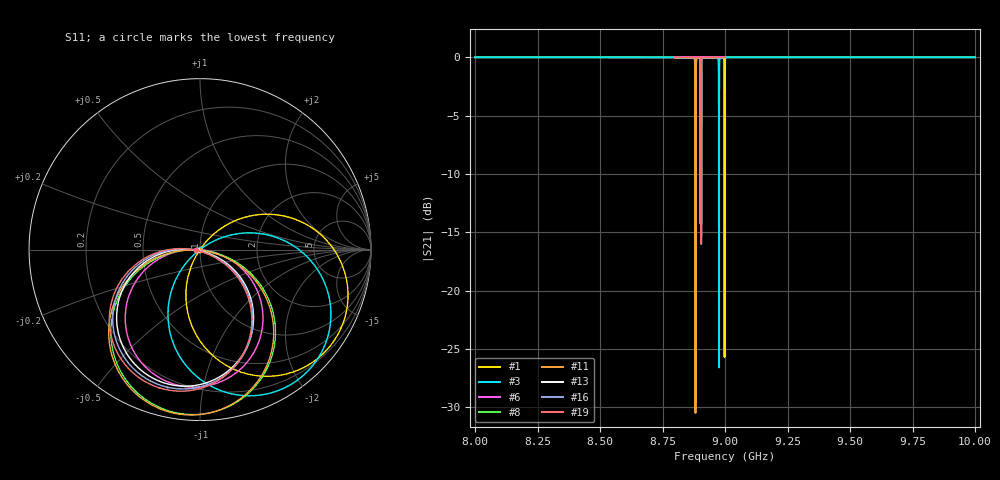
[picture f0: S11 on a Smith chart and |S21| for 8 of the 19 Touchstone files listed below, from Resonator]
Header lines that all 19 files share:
! Sonnet Data File
! From: emgraph Version : 16.52
# GHZ S MA R 51.80000
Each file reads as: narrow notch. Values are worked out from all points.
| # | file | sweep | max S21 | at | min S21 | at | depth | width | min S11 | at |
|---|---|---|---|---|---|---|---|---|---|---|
| 1 | Even_bx0800y3000_gp6.s2p | 8 GHz to 10 GHz | 0.00 dB | 9.15 GHz | -25.7 dB | 8.9983 GHz | 25.7 dB | 183 kHz | -76.4 dB | 9.1616 GHz |
| 2 | Even_bx1000y3500_gp6.s2p | 4 GHz to 12 GHz | 0.00 dB | 4.1 GHz | -26.0 dB | 8.9187 GHz | 26.0 dB | 184 kHz | -78.2 dB | 9.0824 GHz |
| 3 | Even_bx1500y4000_gp6.s2p | 8 GHz to 10 GHz | 0.00 dB | 9.11 GHz | -26.6 dB | 8.9759 GHz | 26.6 dB | 191 kHz | -79.9 dB | 9.1451 GHz |
| 4 | Even_bx1500y4000_gp6_fine.s2p | 8.8 GHz to 9.2 GHz | 0.00 dB | 9.11 GHz | -26.5 dB | 8.9772 GHz | 26.5 dB | 191 kHz | -79.9 dB | 9.148 GHz |
| 5 | Even_bx3000y7000_p2000_gpn06.s2p | 8.8 GHz to 9 GHz | 0.00 dB | 9 GHz | -26.7 dB | 8.8829 GHz | 26.7 dB | 189 kHz | -59.6 dB | 9 GHz |
| 6 | Even_bx3000y7000_p2000_gpn16.s2p | 8.8 GHz to 9 GHz | 0.00 dB | 8.9564 GHz | -14.2 dB | 8.9007 GHz | 14.2 dB | 93.8 kHz | -77.7 dB | 9 GHz |
| 7 | Even_bx3000y7000_p2000_gpn26.s2p | 8.8 GHz to 9 GHz | 0.00 dB | 8.9664 GHz | -7.9 dB | 8.90496 GHz | 7.9 dB | 69.2 kHz | -87.3 dB | 8.996 GHz |
| 8 | Even_cap_W20_gp06.s2p | 8.8 GHz to 9 GHz | 0.00 dB | 8.827 GHz | -29.6 dB | 8.8823 GHz | 29.5 dB | 225 kHz | -49.2 dB | 8.8338 GHz |
| 9 | Even_cap_W20_gp16.s2p | 8.8 GHz to 9 GHz | 0.00 dB | 8.887 GHz | -18.5 dB | 8.9005 GHz | 18.5 dB | 120 kHz | -47.3 dB | 8.89 GHz |
| 10 | Even_cap_W20_gp26.s2p | 8.8 GHz to 9 GHz | 0.00 dB | 8.89772 GHz | -12.2 dB | 8.90482 GHz | 12.2 dB | 88.7 kHz | -45.9 dB | 8.90066 GHz |
| 11 | Even_cap_W30_gp06.s2p | 8.8 GHz to 9 GHz | 0.00 dB | 8.8386 GHz | -30.5 dB | 8.882 GHz | 30.5 dB | 234 kHz | -46.1 dB | 8.8418 GHz |
| 12 | Even_cap_W30_gp16.s2p | 8.8 GHz to 9 GHz | 0.00 dB | 8.8876 GHz | -20.2 dB | 8.9003 GHz | 20.2 dB | 132 kHz | -44.2 dB | 8.8904 GHz |
| 13 | Even_cap_W30_gp26.s2p | 8.8 GHz to 9 GHz | 0.00 dB | 8.898 GHz | -14.3 dB | 8.9047 GHz | 14.3 dB | 93.3 kHz | -42.7 dB | 8.9004 GHz |
| 14 | Even_cap_W40_gp06.s2p | 8.8 GHz to 9 GHz | 0.00 dB | 8.8404 GHz | -30.6 dB | 8.8817 GHz | 30.6 dB | 238 kHz | -44.8 dB | 8.844 GHz |
| 15 | Even_cap_W40_gp16.s2p | 8.8 GHz to 9 GHz | 0.00 dB | 8.8882 GHz | -21.0 dB | 8.9003 GHz | 21.0 dB | 138 kHz | -42.7 dB | 8.8902 GHz |
| 16 | Even_cap_W40_gp26.s2p | 8.8 GHz to 9 GHz | 0.00 dB | 8.898 GHz | -15.4 dB | 8.9047 GHz | 15.4 dB | 99.3 kHz | -41.2 dB | 8.9 GHz |
| 17 | Even_cap_W50_gp06.s2p | 8.8 GHz to 9 GHz | 0.00 dB | 8.843 GHz | -30.6 dB | 8.8816 GHz | 30.6 dB | 239 kHz | -43.9 dB | 8.845 GHz |
| 18 | Even_cap_W50_gp16.s2p | 8.8 GHz to 9 GHz | 0.00 dB | 8.8881 GHz | -21.4 dB | 8.9002 GHz | 21.4 dB | 141 kHz | -41.8 dB | 8.8898 GHz |
| 19 | Even_cap_W50_gp26.s2p | 8.8 GHz to 9 GHz | 0.00 dB | 8.8977 GHz | -16.0 dB | 8.9046 GHz | 16.0 dB | 102 kHz | -40.3 dB | 8.8997 GHz |
